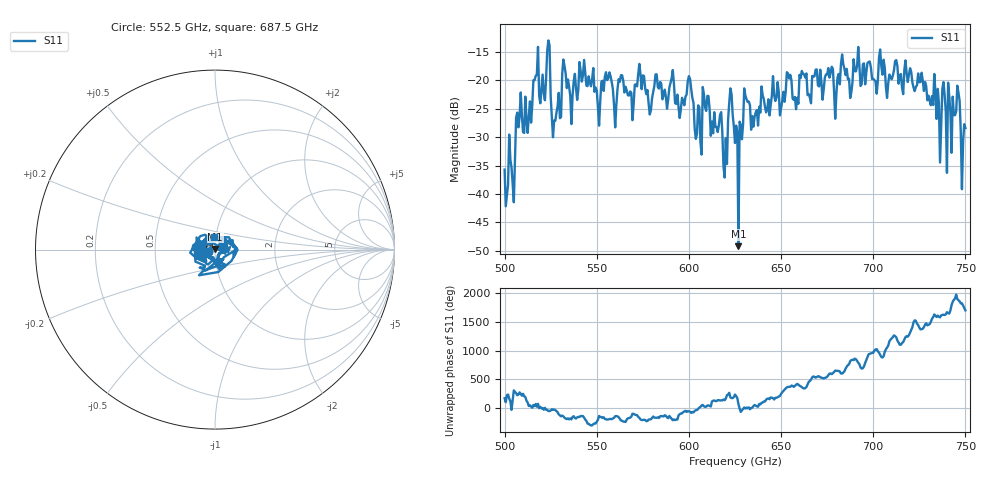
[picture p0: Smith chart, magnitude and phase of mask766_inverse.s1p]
!Created with skrf (http://scikit-rf.org).
# GHz S MA R 50.0
!freq magS11 angS11
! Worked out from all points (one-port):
!   401 points, 500 GHz to 750 GHz, reference 50 ohm
!   lowest |S11| = -49.2 dB at 626.9 GHz (marker M1), VSWR 1.01, Z = 50.1 + j0.319 ohm
!   |S11| at or under -10 dB: start of sweep to end of sweep
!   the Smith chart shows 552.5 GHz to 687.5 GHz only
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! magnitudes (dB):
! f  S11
! 500 GHz  -35.7
! 504.4 GHz  -38.2
! 507.5 GHz  -28.3
! 513.8 GHz  -23.7
! 516.9 GHz  -19.2
! 520.6 GHz  -19.0
! 523.8 GHz  -13.0
! 526.9 GHz  -27.1
! 531.2 GHz  -18.9
! 541.9 GHz  -20.2
! 550.6 GHz  -24.7
! 556.2 GHz  -19.6
! 560 GHz  -28.3
! 562.5 GHz  -20.3
! 593.8 GHz  -22.5
! 600.6 GHz  -19.8
! 605.6 GHz  -24.8
! 608.8 GHz  -24.7
! 619.4 GHz  -37.1
! 622.5 GHz  -21.4
! 625 GHz  -31.0
! 626.9 GHz  -49.2
! 631.2 GHz  -23.3
! 635 GHz  -28.2
! 656.2 GHz  -23.2
! 687.5 GHz  -23.1
! 718.8 GHz  -20.3
! 750 GHz  -28.4
